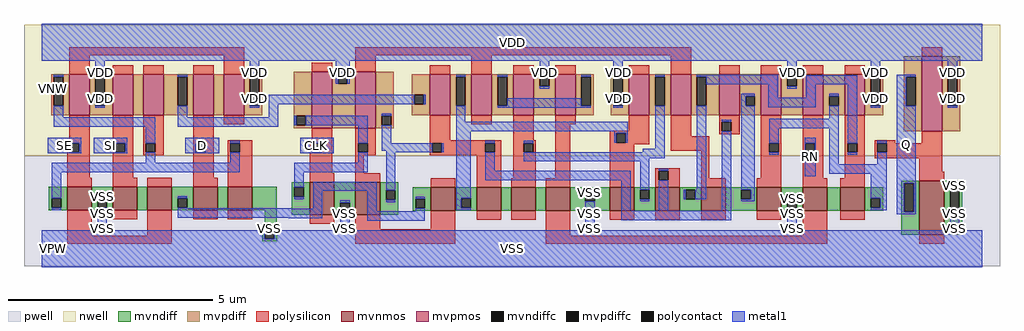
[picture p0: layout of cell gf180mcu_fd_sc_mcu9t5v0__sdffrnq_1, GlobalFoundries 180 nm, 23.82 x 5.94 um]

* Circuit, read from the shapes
.subckt gf180mcu_fd_sc_mcu9t5v0__sdffrnq_1 D RN SE SI CLK Q VDD VNW VPW VSS
XM1 VSS SE n1 VPW nfet_06v0 w=0.58u l=0.6u
XM2 n2 SI VSS VPW nfet_06v0 w=0.58u l=0.6u
XM3 n3 SE n2 VPW nfet_06v0 w=0.58u l=0.6u
XM4 n4 D n3 VPW nfet_06v0 w=0.58u l=0.6u
XM5 VSS n1 n4 VPW nfet_06v0 w=0.58u l=0.6u
XM6 VSS CLK n5 VPW nfet_06v0 w=0.79u l=0.6u
XM7 n6 n5 VSS VPW nfet_06v0 w=0.79u l=0.6u
XM8 n7 n5 n3 VPW nfet_06v0 w=0.58u l=0.6u
XM9 n8 n6 n7 VPW nfet_06v0 w=0.58u l=0.6u
XM10 n9 n10 n8 VPW nfet_06v0 w=0.58u l=0.6u
XM11 VSS RN n9 VPW nfet_06v0 w=0.58u l=0.6u
XM12 n10 n7 VSS VPW nfet_06v0 w=0.58u l=0.6u
XM13 n11 n6 n10 VPW nfet_06v0 w=0.58u l=0.6u
XM14 n12 n5 n11 VPW nfet_06v0 w=0.58u l=0.6u
XM15 VSS n13 n12 VPW nfet_06v0 w=0.58u l=0.6u
XM16 n14 RN VSS VPW nfet_06v0 w=0.58u l=0.6u
XM17 n13 n11 n14 VPW nfet_06v0 w=0.58u l=0.6u
XM18 VSS n13 Q VPW nfet_06v0 w=1.32u l=0.6u
XM19 VDD SE n1 VNW pfet_06v0 w=1u l=0.5u
XM20 n15 SI VDD VNW pfet_06v0 w=1u l=0.5u
XM21 n16 n1 n15 VNW pfet_06v0 w=1u l=0.5u
XM22 n17 D n16 VNW pfet_06v0 w=1u l=0.5u
XM23 VDD SE n17 VNW pfet_06v0 w=1u l=0.5u
XM24 VDD CLK n5 VNW pfet_06v0 w=1.38u l=0.5u
XM25 n6 n5 VDD VNW pfet_06v0 w=1.38u l=0.5u
XM26 n7 n6 n16 VNW pfet_06v0 w=1u l=0.5u
XM27 n18 n5 n7 VNW pfet_06v0 w=1u l=0.5u
XM28 VDD n10 n18 VNW pfet_06v0 w=1u l=0.5u
XM29 n18 RN VDD VNW pfet_06v0 w=1u l=0.5u
XM30 n10 n7 VDD VNW pfet_06v0 w=1u l=0.5u
XM31 n11 n5 n10 VNW pfet_06v0 w=1u l=0.5u
XM32 n12 n6 n11 VNW pfet_06v0 w=1u l=0.5u
XM33 VDD n13 n12 VNW pfet_06v0 w=1u l=0.5u
XM34 n13 RN VDD VNW pfet_06v0 w=1u l=0.5u
XM35 VDD n11 n13 VNW pfet_06v0 w=1u l=0.5u
XM36 VDD n13 Q VNW pfet_06v0 w=1.83u l=0.5u
.ends

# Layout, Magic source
magic
tech gf180mcuD
magscale 1 10
<< nwell >>
rect -86 453 4678 1094
<< pwell >>
rect -86 -86 4678 453
<< mvnmos >>
rect 124 187 244 303
rect 348 187 468 303
rect 516 187 636 303
rect 740 187 860 303
rect 908 187 1028 303
rect 1308 166 1428 324
rect 1532 166 1652 324
rect 1900 185 2020 301
rect 2124 185 2244 301
rect 2292 185 2412 301
rect 2460 185 2580 301
rect 2772 185 2892 301
rect 2996 185 3116 301
rect 3220 185 3340 301
rect 3491 185 3611 301
rect 3715 185 3835 301
rect 3899 185 4019 301
rect 4285 69 4405 333
<< mvpmos >>
rect 134 652 234 852
rect 348 652 448 852
rect 496 652 596 852
rect 740 652 840 852
rect 888 652 988 852
rect 1318 589 1418 865
rect 1532 589 1632 865
rect 1894 652 1994 852
rect 2098 652 2198 852
rect 2302 652 2402 852
rect 2506 652 2606 852
rect 2866 652 2966 852
rect 3070 652 3170 852
rect 3307 652 3407 852
rect 3511 652 3611 852
rect 3715 652 3815 852
rect 3919 652 4019 852
rect 4295 574 4395 940
<< mvndiff >>
rect 36 246 124 303
rect 36 200 49 246
rect 95 200 124 246
rect 36 187 124 200
rect 244 246 348 303
rect 244 200 273 246
rect 319 200 348 246
rect 244 187 348 200
rect 468 187 516 303
rect 636 246 740 303
rect 636 200 665 246
rect 711 200 740 246
rect 636 187 740 200
rect 860 187 908 303
rect 1028 187 1148 303
rect 1088 108 1148 187
rect 1220 299 1308 324
rect 1220 253 1233 299
rect 1279 253 1308 299
rect 1220 166 1308 253
rect 1428 225 1532 324
rect 1428 179 1457 225
rect 1503 179 1532 225
rect 1428 166 1532 179
rect 1652 285 1740 324
rect 4197 320 4285 333
rect 1652 239 1681 285
rect 1727 239 1740 285
rect 1652 166 1740 239
rect 1812 244 1900 301
rect 1812 198 1825 244
rect 1871 198 1900 244
rect 1812 185 1900 198
rect 2020 246 2124 301
rect 2020 200 2049 246
rect 2095 200 2124 246
rect 2020 185 2124 200
rect 2244 185 2292 301
rect 2412 185 2460 301
rect 2580 277 2772 301
rect 2580 231 2653 277
rect 2699 231 2772 277
rect 2580 185 2772 231
rect 2892 288 2996 301
rect 2892 242 2921 288
rect 2967 242 2996 288
rect 2892 185 2996 242
rect 3116 288 3220 301
rect 3116 242 3145 288
rect 3191 242 3220 288
rect 3116 185 3220 242
rect 3340 288 3491 301
rect 3340 242 3416 288
rect 3462 242 3491 288
rect 3340 185 3491 242
rect 3611 244 3715 301
rect 3611 198 3640 244
rect 3686 198 3715 244
rect 3611 185 3715 198
rect 3835 185 3899 301
rect 4019 246 4107 301
rect 4019 200 4048 246
rect 4094 200 4107 246
rect 4019 185 4107 200
rect 1077 100 1148 108
rect 1077 95 1149 100
rect 1077 49 1090 95
rect 1136 49 1149 95
rect 1077 36 1149 49
rect 4197 180 4210 320
rect 4256 180 4285 320
rect 4197 69 4285 180
rect 4405 320 4493 333
rect 4405 180 4434 320
rect 4480 180 4493 320
rect 4405 69 4493 180
<< mvpdiff >>
rect 46 839 134 852
rect 46 699 59 839
rect 105 699 134 839
rect 46 652 134 699
rect 234 839 348 852
rect 234 699 263 839
rect 309 699 348 839
rect 234 652 348 699
rect 448 652 496 852
rect 596 839 740 852
rect 596 699 665 839
rect 711 699 740 839
rect 596 652 740 699
rect 840 652 888 852
rect 988 839 1076 852
rect 988 699 1017 839
rect 1063 699 1076 839
rect 988 652 1076 699
rect 1230 648 1318 865
rect 1230 602 1243 648
rect 1289 602 1318 648
rect 1230 589 1318 602
rect 1418 852 1532 865
rect 1418 806 1447 852
rect 1493 806 1532 852
rect 1418 589 1532 806
rect 1632 648 1720 865
rect 1806 751 1894 852
rect 1806 705 1819 751
rect 1865 705 1894 751
rect 1806 652 1894 705
rect 1994 839 2098 852
rect 1994 699 2023 839
rect 2069 699 2098 839
rect 1994 652 2098 699
rect 2198 839 2302 852
rect 2198 699 2227 839
rect 2273 699 2302 839
rect 2198 652 2302 699
rect 2402 839 2506 852
rect 2402 793 2431 839
rect 2477 793 2506 839
rect 2402 652 2506 793
rect 2606 839 2694 852
rect 2606 699 2635 839
rect 2681 699 2694 839
rect 2606 652 2694 699
rect 2778 839 2866 852
rect 2778 699 2791 839
rect 2837 699 2866 839
rect 2778 652 2866 699
rect 2966 839 3070 852
rect 2966 699 2995 839
rect 3041 699 3070 839
rect 2966 652 3070 699
rect 3170 839 3307 852
rect 3170 699 3199 839
rect 3245 699 3307 839
rect 3170 652 3307 699
rect 3407 745 3511 852
rect 3407 699 3436 745
rect 3482 699 3511 745
rect 3407 652 3511 699
rect 3611 839 3715 852
rect 3611 793 3640 839
rect 3686 793 3715 839
rect 3611 652 3715 793
rect 3815 745 3919 852
rect 3815 699 3844 745
rect 3890 699 3919 745
rect 3815 652 3919 699
rect 4019 839 4107 852
rect 4019 699 4048 839
rect 4094 699 4107 839
rect 4019 652 4107 699
rect 4207 839 4295 940
rect 4207 699 4220 839
rect 4266 699 4295 839
rect 1632 602 1661 648
rect 1707 602 1720 648
rect 1632 589 1720 602
rect 4207 574 4295 699
rect 4395 839 4483 940
rect 4395 699 4424 839
rect 4470 699 4483 839
rect 4395 574 4483 699
<< mvndiffc >>
rect 49 200 95 246
rect 273 200 319 246
rect 665 200 711 246
rect 1233 253 1279 299
rect 1457 179 1503 225
rect 1681 239 1727 285
rect 1825 198 1871 244
rect 2049 200 2095 246
rect 2653 231 2699 277
rect 2921 242 2967 288
rect 3145 242 3191 288
rect 3416 242 3462 288
rect 3640 198 3686 244
rect 4048 200 4094 246
rect 1090 49 1136 95
rect 4210 180 4256 320
rect 4434 180 4480 320
<< mvpdiffc >>
rect 59 699 105 839
rect 263 699 309 839
rect 665 699 711 839
rect 1017 699 1063 839
rect 1243 602 1289 648
rect 1447 806 1493 852
rect 1819 705 1865 751
rect 2023 699 2069 839
rect 2227 699 2273 839
rect 2431 793 2477 839
rect 2635 699 2681 839
rect 2791 699 2837 839
rect 2995 699 3041 839
rect 3199 699 3245 839
rect 3436 699 3482 745
rect 3640 793 3686 839
rect 3844 699 3890 745
rect 4048 699 4094 839
rect 4220 699 4266 839
rect 1661 602 1707 648
rect 4424 699 4470 839
<< polysilicon >>
rect 134 944 988 984
rect 134 852 234 944
rect 348 852 448 896
rect 496 852 596 896
rect 740 852 840 896
rect 888 852 988 944
rect 1532 944 3170 984
rect 1318 865 1418 909
rect 1532 865 1632 944
rect 134 529 234 652
rect 124 516 234 529
rect 124 470 137 516
rect 183 470 234 516
rect 124 347 234 470
rect 348 516 448 652
rect 348 470 361 516
rect 407 470 448 516
rect 348 347 448 470
rect 496 516 596 652
rect 496 470 509 516
rect 555 470 596 516
rect 496 457 596 470
rect 740 516 840 652
rect 888 608 988 652
rect 1894 852 1994 896
rect 2098 852 2198 944
rect 2302 852 2402 896
rect 2506 852 2606 896
rect 2866 852 2966 896
rect 3070 852 3170 944
rect 4295 940 4395 984
rect 3307 852 3407 896
rect 3511 852 3611 896
rect 3715 852 3815 896
rect 3919 852 4019 896
rect 1318 529 1418 589
rect 740 470 753 516
rect 799 470 840 516
rect 740 347 840 470
rect 908 516 1028 529
rect 908 470 921 516
rect 967 470 1028 516
rect 124 303 244 347
rect 348 303 468 347
rect 516 303 636 347
rect 740 303 860 347
rect 908 303 1028 470
rect 1308 516 1418 529
rect 1308 470 1321 516
rect 1367 470 1418 516
rect 1308 368 1418 470
rect 1532 516 1632 589
rect 1532 470 1545 516
rect 1591 470 1632 516
rect 1532 457 1632 470
rect 1894 529 1994 652
rect 2098 608 2198 652
rect 2302 529 2402 652
rect 2506 608 2606 652
rect 1894 516 2244 529
rect 1894 470 1907 516
rect 1953 470 2165 516
rect 2211 470 2244 516
rect 1894 457 2244 470
rect 1532 368 1572 457
rect 1308 324 1428 368
rect 1532 324 1652 368
rect 124 64 244 187
rect 348 143 468 187
rect 516 64 636 187
rect 740 143 860 187
rect 908 143 1028 187
rect 1900 301 2020 345
rect 2124 301 2244 457
rect 2302 516 2412 529
rect 2302 470 2353 516
rect 2399 470 2412 516
rect 2302 345 2412 470
rect 2506 345 2580 608
rect 2866 577 2966 652
rect 2292 301 2412 345
rect 2460 301 2580 345
rect 2772 564 2966 577
rect 2772 518 2805 564
rect 2851 518 2966 564
rect 2772 509 2966 518
rect 3070 550 3170 652
rect 3307 619 3407 652
rect 3307 573 3320 619
rect 3366 573 3407 619
rect 3307 560 3407 573
rect 2772 301 2892 509
rect 3070 478 3260 550
rect 2996 380 3116 393
rect 2996 334 3013 380
rect 3059 334 3116 380
rect 2996 301 3116 334
rect 3220 345 3260 478
rect 3511 516 3611 652
rect 3511 470 3552 516
rect 3598 470 3611 516
rect 3511 345 3611 470
rect 3220 301 3340 345
rect 3491 301 3611 345
rect 3715 516 3815 652
rect 3715 470 3728 516
rect 3774 470 3815 516
rect 3715 345 3815 470
rect 3919 516 4019 652
rect 3919 470 3936 516
rect 3982 470 4019 516
rect 3919 345 4019 470
rect 4067 516 4167 529
rect 4067 470 4080 516
rect 4126 514 4167 516
rect 4295 514 4395 574
rect 4126 470 4395 514
rect 4067 442 4395 470
rect 3715 301 3835 345
rect 3899 301 4019 345
rect 4285 377 4395 442
rect 4285 333 4405 377
rect 1308 122 1428 166
rect 124 24 636 64
rect 1532 96 1652 166
rect 1900 96 2020 185
rect 2124 141 2244 185
rect 2292 141 2412 185
rect 1532 24 2020 96
rect 2460 64 2580 185
rect 2772 141 2892 185
rect 2996 141 3116 185
rect 3220 141 3340 185
rect 3491 141 3611 185
rect 3715 64 3835 185
rect 3899 141 4019 185
rect 2460 24 3835 64
rect 4285 25 4405 69
<< polycontact >>
rect 137 470 183 516
rect 361 470 407 516
rect 509 470 555 516
rect 753 470 799 516
rect 921 470 967 516
rect 1321 470 1367 516
rect 1545 470 1591 516
rect 1907 470 1953 516
rect 2165 470 2211 516
rect 2353 470 2399 516
rect 2805 518 2851 564
rect 3320 573 3366 619
rect 3013 334 3059 380
rect 3552 470 3598 516
rect 3728 470 3774 516
rect 3936 470 3982 516
rect 4080 470 4126 516
<< metal1 >>
rect 0 918 4592 1098
rect 59 839 105 850
rect 59 642 105 699
rect 263 839 309 918
rect 263 688 309 699
rect 665 839 711 850
rect 665 642 711 699
rect 1017 839 1063 918
rect 1436 852 1504 918
rect 1436 806 1447 852
rect 1493 806 1504 852
rect 2023 839 2069 850
rect 1017 688 1063 699
rect 1109 705 1819 751
rect 1865 705 1876 751
rect 1109 642 1155 705
rect 1661 648 1707 659
rect 59 596 555 642
rect 665 596 1155 642
rect 1232 602 1243 648
rect 1289 602 1591 648
rect 30 516 194 542
rect 30 470 137 516
rect 183 470 194 516
rect 30 466 194 470
rect 254 516 418 542
rect 254 470 361 516
rect 407 470 418 516
rect 254 466 418 470
rect 509 516 555 596
rect 509 420 555 470
rect 702 516 866 542
rect 702 470 753 516
rect 799 470 866 516
rect 702 466 866 470
rect 921 516 967 527
rect 921 420 967 470
rect 1262 516 1426 542
rect 1262 470 1321 516
rect 1367 470 1426 516
rect 1262 466 1426 470
rect 1545 516 1591 602
rect 1661 516 1707 602
rect 2023 619 2069 699
rect 2227 839 2273 850
rect 2431 839 2477 918
rect 2431 782 2477 793
rect 2635 839 2681 850
rect 2273 699 2635 734
rect 2227 688 2681 699
rect 2791 839 2837 918
rect 2791 688 2837 699
rect 2995 839 3041 850
rect 2023 573 2862 619
rect 1661 478 1907 516
rect 1545 420 1591 470
rect 49 374 967 420
rect 1233 374 1591 420
rect 1681 470 1907 478
rect 1953 470 1964 516
rect 49 246 95 374
rect 1233 299 1279 374
rect 49 189 95 200
rect 273 246 319 257
rect 273 90 319 200
rect 665 246 711 257
rect 1233 242 1279 253
rect 1325 282 1635 328
rect 665 198 711 200
rect 665 196 1219 198
rect 1325 196 1371 282
rect 665 152 1371 196
rect 1205 150 1371 152
rect 1457 225 1503 236
rect 1090 95 1136 106
rect 0 49 1090 90
rect 1457 90 1503 179
rect 1589 182 1635 282
rect 1681 285 1727 470
rect 1681 228 1727 239
rect 1825 244 1871 255
rect 1825 182 1871 198
rect 2023 246 2095 573
rect 2794 564 2862 573
rect 2165 516 2211 527
rect 2165 380 2211 470
rect 2353 516 2399 527
rect 2794 518 2805 564
rect 2851 518 2862 564
rect 2995 487 3041 699
rect 2933 472 3041 487
rect 2399 470 3041 472
rect 2353 441 3041 470
rect 3199 839 3594 850
rect 3245 804 3594 839
rect 2353 426 2967 441
rect 2165 334 2875 380
rect 2023 200 2049 246
rect 2023 189 2095 200
rect 2653 277 2699 288
rect 1589 136 1871 182
rect 2653 90 2699 231
rect 2829 185 2875 334
rect 2921 288 2967 426
rect 2921 231 2967 242
rect 3013 380 3059 391
rect 3013 185 3059 334
rect 3199 288 3245 699
rect 3416 745 3482 756
rect 3416 699 3436 745
rect 3134 242 3145 288
rect 3191 242 3245 288
rect 3320 619 3366 630
rect 3320 185 3366 573
rect 3416 288 3482 699
rect 3548 736 3594 804
rect 3640 839 3686 918
rect 3640 782 3686 793
rect 3732 802 3982 848
rect 3732 736 3778 802
rect 3548 690 3778 736
rect 3844 745 3890 756
rect 3844 634 3890 699
rect 3552 588 3890 634
rect 3552 516 3598 588
rect 3552 459 3598 470
rect 3726 516 3778 542
rect 3726 470 3728 516
rect 3774 470 3778 516
rect 3726 354 3778 470
rect 3844 413 3890 588
rect 3936 516 3982 802
rect 4048 839 4094 918
rect 4048 688 4094 699
rect 4174 839 4266 850
rect 4174 699 4220 839
rect 3936 459 3982 470
rect 4080 516 4126 527
rect 4080 413 4126 470
rect 3844 367 4126 413
rect 3462 242 3482 288
rect 3416 231 3482 242
rect 3640 244 3686 255
rect 2829 139 3366 185
rect 3640 90 3686 198
rect 4048 246 4126 367
rect 4094 200 4126 246
rect 4048 189 4126 200
rect 4174 320 4266 699
rect 4424 839 4470 918
rect 4424 688 4470 699
rect 4174 180 4210 320
rect 4256 180 4266 320
rect 4174 169 4266 180
rect 4434 320 4480 331
rect 4434 90 4480 180
rect 1136 49 4592 90
rect 0 -90 4592 49
<< labels >>
flabel metal1 s 1262 466 1426 542 0 FreeSans 200 0 0 0 CLK
port 5 nsew clock input
flabel metal1 s 702 466 866 542 0 FreeSans 200 0 0 0 D
port 1 nsew default input
flabel metal1 s 4174 169 4266 850 0 FreeSans 200 0 0 0 Q
port 6 nsew default output
flabel metal1 s 3726 354 3778 542 0 FreeSans 200 0 0 0 RN
port 2 nsew default input
flabel metal1 s 30 466 194 542 0 FreeSans 200 0 0 0 SE
port 3 nsew default input
flabel metal1 s 254 466 418 542 0 FreeSans 200 0 0 0 SI
port 4 nsew default input
flabel metal1 s 0 918 4592 1098 0 FreeSans 200 0 0 0 VDD
port 7 nsew power bidirectional abutment
flabel metal1 s 4434 288 4480 331 0 FreeSans 200 0 0 0 VSS
port 10 nsew ground bidirectional abutment
flabel nwell s 10 734 110 834 0 FreeSans 400 0 0 0 VNW
port 8 nsew power bidirectional
flabel pwell s 10 -50 110 50 0 FreeSans 400 0 0 0 VPW
port 9 nsew ground bidirectional
rlabel metal1 s 4424 806 4470 918 1 VDD
port 7 nsew power bidirectional abutment
rlabel metal1 s 4048 806 4094 918 1 VDD
port 7 nsew power bidirectional abutment
rlabel metal1 s 3640 806 3686 918 1 VDD
port 7 nsew power bidirectional abutment
rlabel metal1 s 2791 806 2837 918 1 VDD
port 7 nsew power bidirectional abutment
rlabel metal1 s 2431 806 2477 918 1 VDD
port 7 nsew power bidirectional abutment
rlabel metal1 s 1436 806 1504 918 1 VDD
port 7 nsew power bidirectional abutment
rlabel metal1 s 1017 806 1063 918 1 VDD
port 7 nsew power bidirectional abutment
rlabel metal1 s 263 806 309 918 1 VDD
port 7 nsew power bidirectional abutment
rlabel metal1 s 4424 782 4470 806 1 VDD
port 7 nsew power bidirectional abutment
rlabel metal1 s 4048 782 4094 806 1 VDD
port 7 nsew power bidirectional abutment
rlabel metal1 s 3640 782 3686 806 1 VDD
port 7 nsew power bidirectional abutment
rlabel metal1 s 2791 782 2837 806 1 VDD
port 7 nsew power bidirectional abutment
rlabel metal1 s 2431 782 2477 806 1 VDD
port 7 nsew power bidirectional abutment
rlabel metal1 s 1017 782 1063 806 1 VDD
port 7 nsew power bidirectional abutment
rlabel metal1 s 263 782 309 806 1 VDD
port 7 nsew power bidirectional abutment
rlabel metal1 s 4424 688 4470 782 1 VDD
port 7 nsew power bidirectional abutment
rlabel metal1 s 4048 688 4094 782 1 VDD
port 7 nsew power bidirectional abutment
rlabel metal1 s 2791 688 2837 782 1 VDD
port 7 nsew power bidirectional abutment
rlabel metal1 s 1017 688 1063 782 1 VDD
port 7 nsew power bidirectional abutment
rlabel metal1 s 263 688 309 782 1 VDD
port 7 nsew power bidirectional abutment
rlabel metal1 s 4434 257 4480 288 1 VSS
port 10 nsew ground bidirectional abutment
rlabel metal1 s 2653 257 2699 288 1 VSS
port 10 nsew ground bidirectional abutment
rlabel metal1 s 4434 255 4480 257 1 VSS
port 10 nsew ground bidirectional abutment
rlabel metal1 s 2653 255 2699 257 1 VSS
port 10 nsew ground bidirectional abutment
rlabel metal1 s 273 255 319 257 1 VSS
port 10 nsew ground bidirectional abutment
rlabel metal1 s 4434 236 4480 255 1 VSS
port 10 nsew ground bidirectional abutment
rlabel metal1 s 3640 236 3686 255 1 VSS
port 10 nsew ground bidirectional abutment
rlabel metal1 s 2653 236 2699 255 1 VSS
port 10 nsew ground bidirectional abutment
rlabel metal1 s 273 236 319 255 1 VSS
port 10 nsew ground bidirectional abutment
rlabel metal1 s 4434 106 4480 236 1 VSS
port 10 nsew ground bidirectional abutment
rlabel metal1 s 3640 106 3686 236 1 VSS
port 10 nsew ground bidirectional abutment
rlabel metal1 s 2653 106 2699 236 1 VSS
port 10 nsew ground bidirectional abutment
rlabel metal1 s 1457 106 1503 236 1 VSS
port 10 nsew ground bidirectional abutment
rlabel metal1 s 273 106 319 236 1 VSS
port 10 nsew ground bidirectional abutment
rlabel metal1 s 4434 90 4480 106 1 VSS
port 10 nsew ground bidirectional abutment
rlabel metal1 s 3640 90 3686 106 1 VSS
port 10 nsew ground bidirectional abutment
rlabel metal1 s 2653 90 2699 106 1 VSS
port 10 nsew ground bidirectional abutment
rlabel metal1 s 1457 90 1503 106 1 VSS
port 10 nsew ground bidirectional abutment
rlabel metal1 s 1090 90 1136 106 1 VSS
port 10 nsew ground bidirectional abutment
rlabel metal1 s 273 90 319 106 1 VSS
port 10 nsew ground bidirectional abutment
rlabel metal1 s 0 -90 4592 90 1 VSS
port 10 nsew ground bidirectional abutment
<< properties >>
string FIXED_BBOX 0 0 4592 1008
string GDS_END 344184
string GDS_FILE $PDKPATH/libs.ref/gf180mcu_fd_sc_mcu9t5v0/gds/gf180mcu_fd_sc_mcu9t5v0.gds
string GDS_START 333480
string LEFclass core
string LEFsite GF018hv5v_green_sc9
string LEFsymmetry X Y
<< end >>
